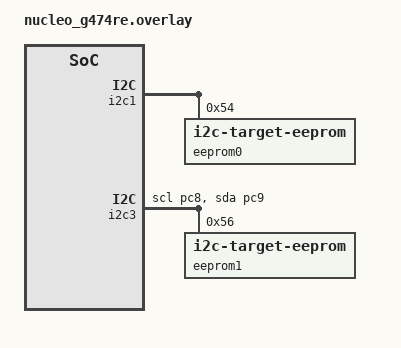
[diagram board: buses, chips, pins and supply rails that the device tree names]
/* SPDX-License-Identifier: Apache-2.0 */

/* I2C bus pins are exposed on the ST morpho header.
 *
 *  Bus        SDA               SCL
 *          Pin   Hdr         Pin   Hdr
 *  i2c1    PB9   CN10:5      PB8   CN10:3
 *  i2c3    PC9   CN10:1      PC8   CN10:2
 *
 * Short Pin PB9 to PC9, and PB8 to PC8, for the test to pass.
 */

&i2c1 {
	dmas = <&dmamux1 2 17 (STM32_DMA_PERIPH_TX | STM32_DMA_PRIORITY_HIGH)>,
	       <&dmamux1 1 16 (STM32_DMA_PERIPH_RX | STM32_DMA_PRIORITY_HIGH)>;
	dma-names = "tx", "rx";

	eeprom0: eeprom@54 {
		compatible = "zephyr,i2c-target-eeprom";
		reg = <0x54>;
		size = <256>;
	};
};

&i2c3 {
	pinctrl-0 = <&i2c3_scl_pc8 &i2c3_sda_pc9>;
	pinctrl-names = "default";
	scl-gpios = <&gpioc 8 GPIO_ACTIVE_HIGH>;
	sda-gpios = <&gpioc 9 GPIO_ACTIVE_HIGH>;
	dmas = <&dmamux1 4 21 (STM32_DMA_PERIPH_TX | STM32_DMA_PRIORITY_HIGH)>,
	       <&dmamux1 3 20 (STM32_DMA_PERIPH_RX | STM32_DMA_PRIORITY_HIGH)>;
	dma-names = "tx", "rx";
	status = "okay";

	eeprom1: eeprom@56 {
		compatible = "zephyr,i2c-target-eeprom";
		reg = <0x56>;
		size = <256>;
	};
};

&dma1 {
	status = "okay";
};

&dma2 {
	status = "okay";
};

&dmamux1 {
	status = "okay";
};
